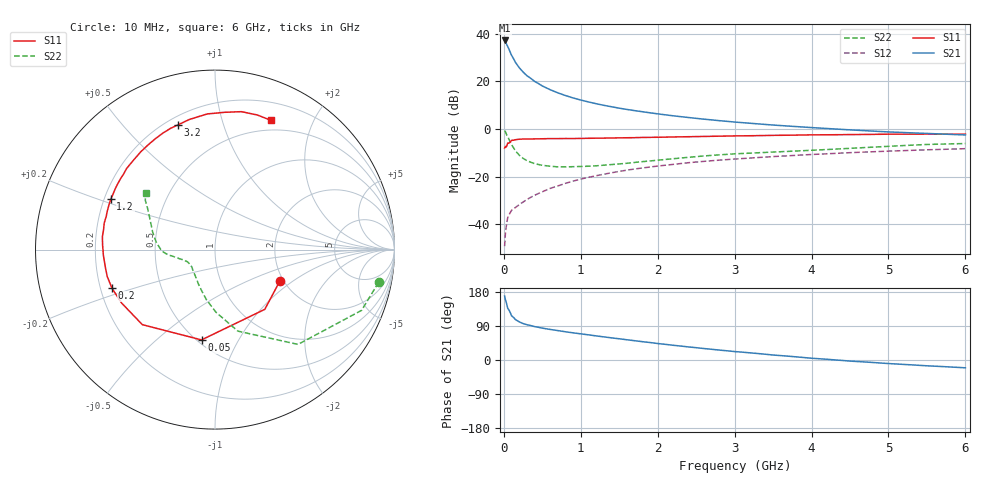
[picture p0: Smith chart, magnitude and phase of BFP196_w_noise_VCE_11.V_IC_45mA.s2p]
! (c) 2017  Infineon Technologies AG, Munich
! Infineon Technologies  Discrete & RF Semiconductors
! BFP196
! VCE =  11. V,  IC =  45 mA
! Common Emitter S-Parameters:  Jan 2017
# GHz  S  MA  R  50
!  f  S11  S21  S12  S22
! GHz  MAG  ANG  MAG  ANG  MAG  ANG  MAG  ANG
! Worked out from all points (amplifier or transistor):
!   77 points, 10 MHz to 6 GHz, reference 50 ohm
!   highest |S21| = 37.2 dB at 10 MHz (marker M1)
!   |S21| within 3 dB of that: start of sweep to 57.14 MHz
!   unconditionally stable (mu >= 1): 633.6 MHz to 2.395 GHz
!   at 130 MHz: K = 0.55, MSG = 31.3 dB, |S12| = -33.4 dB
!   at 2.2 GHz: K = 1.01, MAG = 9.5 dB, |S12| = -14.8 dB
!   at 6 GHz: K = 0.93, MSG = 2.9 dB, |S12| = -8.2 dB
!   lowest NFmin = 1.39 dB at 450 MHz
!   S11 on the Smith chart (normalised r, x): 10 MHz: 1.91, -0.80; 50 MHz: 0.53, -0.71; 200 MHz: 0.25, -0.17; 1.2 GHz: 0.23, +0.22; 3.2 GHz: 0.24, +0.72; 6 GHz: 0.39, +1.45
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0.01  0.4016 -26.1  72.31 168.9  0.0035 76.6  0.9297 -11.3
0.02  0.4333 -50.2  69.63 159.3  0.0063 75.9  0.8841 -22.5
0.05  0.5088 -98.5  54.18 136.5  0.0138 57.9  0.702 -48.8
0.1  0.5821 -134.1  35.34 116.6  0.0197 52.9  0.4718 -74.3
0.15  0.5998 -150.4  25.21 106.8  0.0226 50.3  0.3498 -89.0
0.2  0.6128 -159.4  19.42 100.7  0.026 54.6  0.2844 -99.5
0.25  0.6188 -165.9  15.74 96.2  0.0295 55.6  0.2438 -107.3
0.3  0.6186 -170.3  13.19 93.1  0.0333 57.4  0.2175 -114.3
0.4  0.6227 -177.1  10.02 88.1  0.0409 61.7  0.1882 -124.4
0.5  0.6266 177.8  8.032 84.1  0.0484 63.3  0.1742 -132.3
0.6  0.6315 173.5  6.732 80.7  0.0569 63.6  0.1667 -138.4
0.7  0.6306 170.1  5.776 77.7  0.064 64.2  0.1613 -143.0
0.9  0.6335 163.2  4.501 71.7  0.081 64.2  0.1626 -149.8
1.1  0.641 157.2  3.712 66.4  0.0973 63.0  0.1665 -154.8
1.2  0.6449 154.2  3.407 63.6  0.1051 62.1  0.1696 -156.9
1.6  0.6581 143.0  2.584 53.4  0.1376 58.4  0.192 -163.3
2.1  0.6783 129.8  1.992 41.3  0.1746 52.2  0.2306 -169.9
3.1  0.7218 108.4  1.365 20.7  0.2411 39.4  0.3075 178.3
3.2  0.725 106.5  1.326 18.9  0.2469 38.3  0.3128 176.9
4.1  0.7582 91.7  1.052 3.3  0.2982 27.7  0.3659 162.8
5.1  0.7823 77.9  0.859 -10.5  0.3491 16.2  0.4431 148.2
6  0.7848 66.7  0.753 -20.6  0.3884 6.1  0.4979 140.7
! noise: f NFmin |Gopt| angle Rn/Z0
0.45  1.39  0.37  -180  0.06
0.9  1.55  0.46  -166  0.07
1.9  2.36  0.68  -133  0.3
2.4  2.76  0.7  -120  0.65
